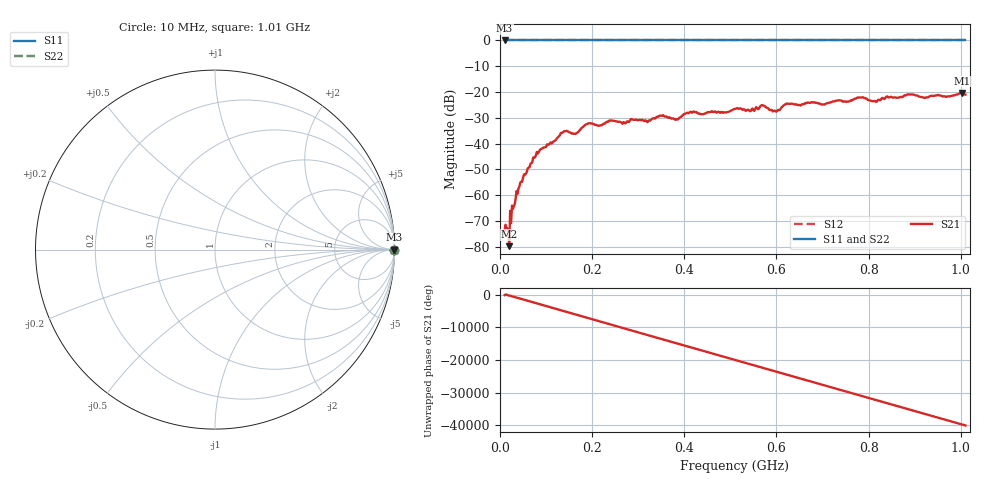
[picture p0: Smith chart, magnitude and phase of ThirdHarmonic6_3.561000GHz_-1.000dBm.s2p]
! 8/17/2025 11:46:45 AM
! C:\ANRITSUVNA\TEMP\TEMP.S2P
! CHANNEL.1
! TR.MEASUREMENT
! RAW.DATA
! RF.CORRECTION.OFF
! AVERAGING.OFF
! IF.BANDWIDTH: 5KHZ
! SWEEPTYPE:  FREQ.SWEEP(Linear)
! Reference Plane Port Info
! PORT:  PORT1  PORT2
! DISTANCE:  0  m  0  m
! TIME:  0  s  0  s
! PHASE.OFFSET:  0  deg.  0  deg.
! LOSS:  0  dB  0  dB
! REF.LOSS:  0  dB  0  dB
! REF.FREQ:  0  Hz  0  Hz
! Power Info
! POWER:  -20  dBm  -20  dBm
! EFF.POWER:  -20  dBm  -20  dBm
! SOURCE.ATTEN:  0  dB  0  dB
! TEST.ATTEN:  0  dB  0  dB
# GHZ S RI R 50.0
! FREQ.GHZ  S11RE  S11IM  S21RE  S21IM  S12RE  S12IM  S22RE  S22IM
!; PortSelection: Port_12
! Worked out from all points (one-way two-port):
!   501 points, 10 MHz to 1.01 GHz, reference 50 ohm
!   highest |S21| = -20.39 dB at 1.002 GHz (marker M1); lowest = -79.8 dB at 20 MHz (marker M2)
!   lowest |S11| = 0.0 dB at 10 MHz (marker M3)
!   |S11| at or under -10 dB: nowhere
!   |S22| runs from 0.0 to 0.0 dB; largest |S21 - S12| = 1.1
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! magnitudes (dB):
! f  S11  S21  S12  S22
! 10 MHz  0.0  -73.8  0.0  0.0
! 20 MHz  0.0  -79.8  0.0  0.0
! 26 MHz  0.0  -64.1  0.0  0.0
! 40 MHz  0.0  -57.5  0.0  0.0
! 76 MHz  0.0  -45.3  0.0  0.0
! 136 MHz  0.0  -35.8  0.0  0.0
! 164 MHz  0.0  -36.3  0.0  0.0
! 178 MHz  0.0  -33.8  0.0  0.0
! 194 MHz  0.0  -32.1  0.0  0.0
! 344 MHz  0.0  -29.6  0.0  0.0
! 384 MHz  0.0  -30.7  0.0  0.0
! 410 MHz  0.0  -28.2  0.0  0.0
! 510 MHz  0.0  -26.6  0.0  0.0
! 570 MHz  0.0  -25.1  0.0  0.0
! 596 MHz  0.0  -27.2  0.0  0.0
! 622 MHz  0.0  -24.5  0.0  0.0
! 678 MHz  0.0  -24.0  0.0  0.0
! 784 MHz  0.0  -22.2  0.0  0.0
! 814 MHz  0.0  -23.5  0.0  0.0
! 844 MHz  0.0  -22.1  0.0  0.0
! 1.002 GHz  0.0  -20.4  0.0  0.0
! 1.01 GHz  0.0  -21.0  0.0  0.0
